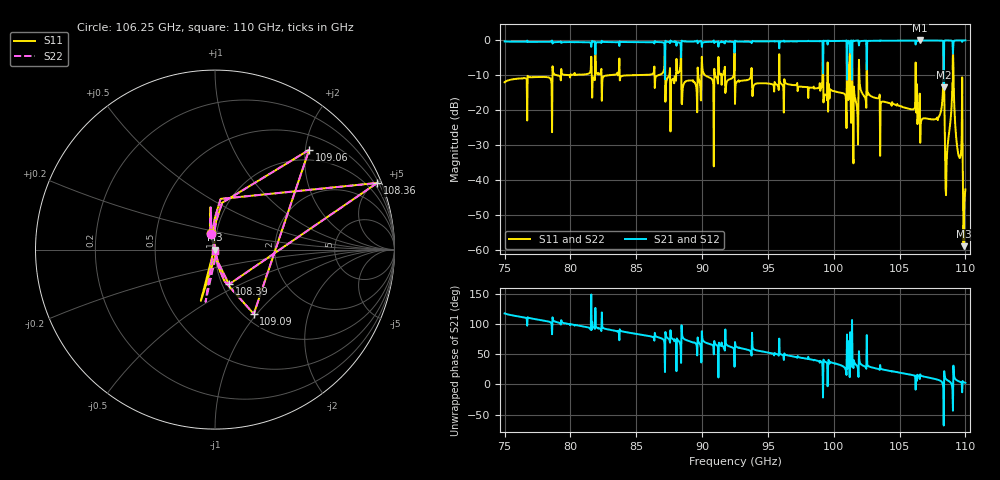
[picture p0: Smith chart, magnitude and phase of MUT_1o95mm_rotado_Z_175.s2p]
! TOUCHSTONE file generated by CST MICROWAVE STUDIO
! Date and time: Fri Feb 16 12:03:56 2024
! Project name: material_rotado.cst
! Parameters = {angX=1.75; angY=0.75}
! Header version: 2018
! Port assignment regex: !\s*Touchstone port\s*([0-9]+)\s*=\s*(CST MWS port|CST DS port)\s*([0-9]+|Zmin|Zmax)\s*\(\"(.*)\"\)(\s*mode\s*([0-9]+))?.*
! Touchstone port assignment:
! Touchstone port 1 = CST MWS port 1 ("")
! Touchstone port 2 = CST MWS port 2 ("")
# GHz S MA R 376.7
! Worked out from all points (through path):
!   1001 points, 75 GHz to 110 GHz, reference 376.7 ohm
!   highest |S21| = 0.00 dB at 106.57 GHz (marker M1); lowest = -13.4 dB at 108.36 GHz (marker M2)
!   lowest |S11| = -58.9 dB at 109.86 GHz (marker M3), VSWR 1.00, Z = 377 - j0.322 ohm
!   |S11| at or under -10 dB: start of sweep to 78.635 GHz; 95.888 GHz to 99.142 GHz (3.254 GHz wide, 3.34 % of centre); 102.53 GHz to 106.21 GHz (3.675 GHz wide, 3.52 % of centre)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
!   |S22| runs from -59.0 to -0.2 dB; largest |S21 - S12| = 0
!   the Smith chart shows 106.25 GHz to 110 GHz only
!   S11 on the Smith chart (normalised r, x): 106.25 GHz: 0.94, +0.17; 108.36 GHz: 0.31, +5.04; 108.39 GHz: 1.08, -0.44; 109.06 GHz: 0.78, +2.08; 109.09 GHz: 1.11, -0.96; 110 GHz: 1.00, -0.01
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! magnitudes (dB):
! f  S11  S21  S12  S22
! 75 GHz  -12.0  -0.3  -0.3  -12.0
! 80.845 GHz  -9.8  -0.5  -0.5  -9.8
! 86.69 GHz  -9.9  -0.5  -0.5  -9.9
! 92.5 GHz  -18.2  -0.1  -0.1  -18.2
! 98.345 GHz  -13.5  -0.2  -0.2  -13.5
! 100.8 GHz  -15.3  -0.1  -0.1  -15.3
! 101.08 GHz  -7.9  -0.8  -0.8  -7.9
! 101.67 GHz  -17.2  -0.1  -0.1  -17.2
! 102.06 GHz  -14.2  -0.2  -0.2  -14.2
! 104.19 GHz  -17.9  -0.1  -0.1  -17.9
! 106.25 GHz  -20.6  0.0  0.0  -20.6
! 106.57 GHz  -29.3  0.0  0.0  -29.3
! 107.86 GHz  -22.0  0.0  0.0  -22.0
! 108.22 GHz  -18.6  -0.1  -0.1  -18.6
! 108.36 GHz  -0.2  -13.4  -13.4  -0.2
! 108.39 GHz  -13.6  -0.2  -0.2  -13.6
! 108.64 GHz  -30.8  0.0  0.0  -30.8
! 109.06 GHz  -2.3  -3.8  -3.8  -2.3
! 109.09 GHz  -7.6  -0.8  -0.8  -7.6
! 109.41 GHz  -31.3  0.0  0.0  -31.3
! 109.86 GHz  -58.9  0.0  0.0  -59.0
! 110 GHz  -42.6  0.0  0.0  -42.6
